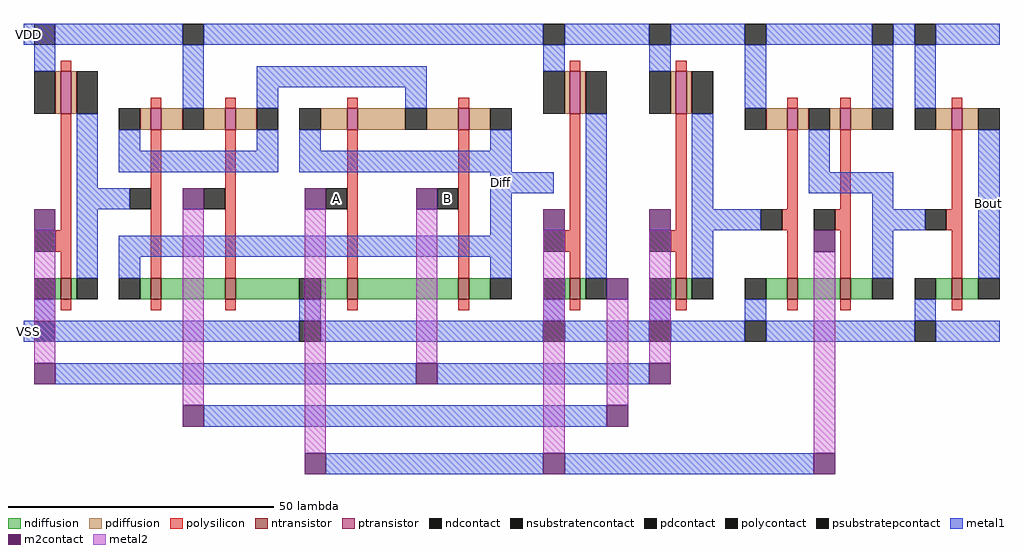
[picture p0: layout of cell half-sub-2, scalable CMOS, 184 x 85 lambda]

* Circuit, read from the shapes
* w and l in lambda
.subckt half-sub-2 A B Bout Diff VDD VSS
M1 2XOR_0/Bbar B VSS VSS nfet w=4 l=2
M2 n1 2XOR_0/Bbar Diff VSS nfet w=4 l=2
M3 VSS 2XOR_0/Abar n1 VSS nfet w=4 l=2
M4 n2 A VSS VSS nfet w=4 l=2
M5 Diff B n2 VSS nfet w=4 l=2
M6 2XOR_0/Abar A VSS VSS nfet w=4 l=2
M7 2AND_0/A B VSS VSS nfet w=4 l=2
M8 n3 2AND_0/A VSS VSS nfet w=4 l=2
M9 2AND_0/INV A n3 VSS nfet w=4 l=2
M10 Bout 2AND_0/INV VSS VSS nfet w=4 l=2
M11 2XOR_0/Bbar B VDD VDD pfet w=8 l=2
M12 VDD 2XOR_0/Bbar n4 VDD pfet w=4 l=2
M13 n4 2XOR_0/Abar VDD VDD pfet w=4 l=2
M14 n4 A Diff VDD pfet w=4 l=2
M15 Diff B n4 VDD pfet w=4 l=2
M16 2XOR_0/Abar A VDD VDD pfet w=8 l=2
M17 2AND_0/A B VDD VDD pfet w=8 l=2
M18 2AND_0/INV 2AND_0/A VDD VDD pfet w=4 l=2
M19 VDD A 2AND_0/INV VDD pfet w=4 l=2
M20 Bout 2AND_0/INV VDD VDD pfet w=4 l=2
.ends

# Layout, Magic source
magic
tech scmos
<< polycontact >>
rect 57 50 61 54
rect 78 50 82 54
<< metal1 >>
rect 0 81 2 85
rect 112 81 116 85
rect 132 81 135 85
rect 88 57 92 65
rect 88 53 100 57
rect 88 37 92 53
rect 130 46 139 50
rect 180 37 184 65
rect 0 25 2 29
rect 112 25 116 29
rect 132 25 135 29
rect 78 17 118 21
rect 102 0 149 4
<< m2contact >>
rect 118 46 122 50
rect 149 42 153 46
rect 118 17 122 21
rect 149 0 153 4
<< metal2 >>
rect 118 21 122 46
rect 149 4 153 42
use 2AND  2AND_0 ~/cmpe480/proj/full-sub
transform 1 0 132 0 1 25
box 2 0 52 60
use 2XOR  2XOR_0 ~/cmpe480/proj/full-sub
transform 1 0 18 0 1 25
box -18 -25 96 60
use INV  INV_0 ~/cmpe480/proj/full-sub
transform 1 0 121 0 1 24
box -5 1 11 61
<< labels >>
rlabel metal1 1 83 1 83 4 VDD
rlabel metal1 1 27 1 27 3 VSS
rlabel polycontact 59 52 59 52 1 A
rlabel polycontact 80 52 80 52 1 B
rlabel metal1 90 55 90 55 1 Diff
rlabel metal1 182 51 182 51 7 Bout
<< end >>

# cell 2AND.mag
magic
tech scmos
<< ntransistor >>
rect 12 8 14 12
rect 22 8 24 12
rect 43 8 45 12
<< ptransistor >>
rect 12 40 14 44
rect 22 40 24 44
rect 43 40 45 44
<< ndiffusion >>
rect 8 8 12 12
rect 14 8 22 12
rect 24 8 28 12
rect 40 8 43 12
rect 45 8 48 12
<< pdiffusion >>
rect 8 40 12 44
rect 14 40 16 44
rect 20 40 22 44
rect 24 40 28 44
rect 40 40 43 44
rect 45 40 48 44
<< ndcontact >>
rect 4 8 8 12
rect 28 8 32 12
rect 36 8 40 12
rect 48 8 52 12
<< pdcontact >>
rect 4 40 8 44
rect 16 40 20 44
rect 28 40 32 44
rect 36 40 40 44
rect 48 40 52 44
<< psubstratepcontact >>
rect 4 0 8 4
rect 36 0 40 4
<< nsubstratencontact >>
rect 4 56 8 60
rect 28 56 32 60
rect 36 56 40 60
<< polysilicon >>
rect 12 44 14 46
rect 22 44 24 46
rect 43 44 45 46
rect 12 25 14 40
rect 22 25 24 40
rect 43 25 45 40
rect 11 21 14 25
rect 21 21 24 25
rect 42 21 45 25
rect 12 12 14 21
rect 22 12 24 21
rect 43 12 45 21
rect 12 6 14 8
rect 22 6 24 8
rect 43 6 45 8
<< polycontact >>
rect 7 21 11 25
rect 17 21 21 25
rect 38 21 42 25
<< metal1 >>
rect 2 56 4 60
rect 8 56 28 60
rect 32 56 36 60
rect 40 56 52 60
rect 4 44 8 56
rect 28 44 32 56
rect 36 44 40 56
rect 16 32 20 40
rect 16 28 32 32
rect 28 25 32 28
rect 28 21 38 25
rect 28 12 32 21
rect 48 12 52 40
rect 4 4 8 8
rect 36 4 40 8
rect 2 0 4 4
rect 8 0 36 4
rect 40 0 52 4
<< labels >>
rlabel polycontact 19 23 19 23 1 B
rlabel polycontact 9 23 9 23 1 A
rlabel psubstratepcontact 6 2 6 2 1 VSS
rlabel polycontact 40 23 40 23 1 INV
rlabel metal1 50 25 50 25 1 Y
rlabel psubstratepcontact 38 2 38 2 1 VSS
rlabel nsubstratencontact 38 58 38 58 1 VDD
rlabel nsubstratencontact 30 58 30 58 1 VDD
rlabel nsubstratencontact 6 58 6 58 1 VDD
<< end >>

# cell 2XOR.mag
magic
tech scmos
<< ntransistor >>
rect 6 8 8 12
rect 20 8 22 12
rect 43 8 45 12
rect 64 8 66 12
<< ptransistor >>
rect 6 40 8 44
rect 20 40 22 44
rect 43 40 45 44
rect 64 40 66 44
<< ndiffusion >>
rect 4 8 6 12
rect 8 8 20 12
rect 22 8 34 12
rect 38 8 43 12
rect 45 8 64 12
rect 66 8 70 12
<< pdiffusion >>
rect 4 40 6 44
rect 8 40 12 44
rect 16 40 20 44
rect 22 40 26 44
rect 38 40 43 44
rect 45 40 54 44
rect 58 40 64 44
rect 66 40 70 44
<< ndcontact >>
rect 0 8 4 12
rect 34 8 38 12
rect 70 8 74 12
<< pdcontact >>
rect 0 40 4 44
rect 12 40 16 44
rect 26 40 30 44
rect 34 40 38 44
rect 54 40 58 44
rect 70 40 74 44
<< psubstratepcontact >>
rect 34 0 38 4
<< nsubstratencontact >>
rect 12 56 16 60
<< polysilicon >>
rect 6 44 8 46
rect 20 44 22 46
rect 43 44 45 46
rect 64 44 66 46
rect 6 12 8 40
rect 20 12 22 40
rect 43 12 45 40
rect 64 12 66 40
rect 6 6 8 8
rect 20 6 22 8
rect 43 6 45 8
rect 64 6 66 8
<< polycontact >>
rect 2 25 6 29
rect 16 25 20 29
rect 39 25 43 29
rect 60 25 64 29
<< metal1 >>
rect -18 56 -12 60
rect -2 56 12 60
rect 16 56 80 60
rect 12 44 16 56
rect 26 48 58 52
rect 26 44 30 48
rect 54 44 58 48
rect 0 36 4 40
rect 26 36 30 40
rect 0 32 30 36
rect 34 36 38 40
rect 70 36 74 40
rect 34 32 74 36
rect -4 25 2 29
rect 70 28 82 32
rect 70 20 74 28
rect 0 16 74 20
rect 0 12 4 16
rect 70 12 74 16
rect 34 4 38 8
rect -18 0 -12 4
rect -2 0 34 4
rect 38 0 78 4
rect -12 -8 56 -4
rect 16 -16 92 -12
rect 39 -25 80 -21
<< m2contact >>
rect 12 25 16 29
rect 35 25 39 29
rect 56 25 60 29
rect -16 21 -12 25
rect 80 21 84 25
rect 92 8 96 12
rect -16 -8 -12 -4
rect 56 -8 60 -4
rect 12 -16 16 -12
rect 92 -16 96 -12
rect 35 -25 39 -21
rect 80 -25 84 -21
<< metal2 >>
rect -16 -4 -12 21
rect 12 -12 16 25
rect 35 -21 39 25
rect 56 -4 60 25
rect 80 -21 84 21
rect 92 -12 96 8
use INV  INV_1
transform 1 0 -13 0 1 -1
box -5 1 11 61
use INV  INV_2
transform 1 0 83 0 1 -1
box -5 1 11 61
<< labels >>
rlabel nsubstratencontact 14 58 14 58 5 VDD
rlabel metal1 -17 58 -17 58 1 VDD
rlabel metal1 -17 2 -17 2 1 VSS
rlabel psubstratepcontact 36 2 36 2 1 VSS
rlabel metal1 80 30 80 30 1 Y
rlabel polycontact 41 27 41 27 1 A
rlabel polycontact 62 27 62 27 1 B
rlabel polycontact 18 27 18 27 1 Abar
rlabel polycontact 4 27 4 27 1 Bbar
<< end >>

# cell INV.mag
magic
tech scmos
<< ntransistor >>
rect 2 9 4 13
<< ptransistor >>
rect 2 44 4 52
<< ndiffusion >>
rect 1 9 2 13
rect 4 9 5 13
<< pdiffusion >>
rect 1 44 2 52
rect 4 44 5 52
<< ndcontact >>
rect -3 9 1 13
rect 5 9 9 13
<< pdcontact >>
rect -3 44 1 52
rect 5 44 9 52
<< psubstratepcontact >>
rect -3 1 1 5
<< nsubstratencontact >>
rect -3 57 1 61
<< polysilicon >>
rect 2 52 4 54
rect 2 22 4 44
rect 1 18 4 22
rect 2 13 4 18
rect 2 7 4 9
<< polycontact >>
rect -3 18 1 22
<< metal1 >>
rect -5 57 -3 61
rect 1 57 11 61
rect -3 52 1 57
rect 5 13 9 44
rect -3 5 1 9
rect -5 1 -3 5
rect 1 1 11 5
<< labels >>
rlabel psubstratepcontact -1 3 -1 3 1 VSS
rlabel polycontact -1 20 -1 20 1 A
rlabel metal1 7 25 7 25 1 Y
rlabel nsubstratencontact -1 59 -1 59 1 VDD
<< end >>
